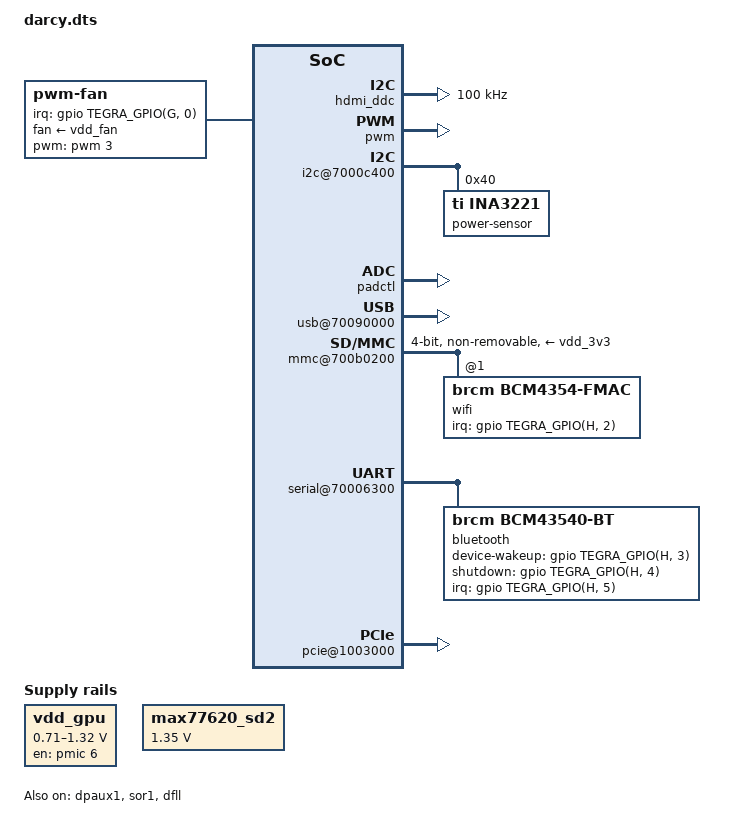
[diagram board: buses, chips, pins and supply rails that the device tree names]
// SPDX-License-Identifier: GPL-2.0
/*
 * NVIDIA SHIELD TV 2017 ("darcy", board P2894-0050-a08) as our boot chain
 * starts it: mainline's board description plus what Linux needs from us.
 * U-Boot adds the rest: the memory map cboot reports and a
 * simple-framebuffer for the HDMI console.
 */
/dts-v1/;

#include "nvidia/tegra210-p2894-0050-a08.dts"
#include <dt-bindings/thermal/thermal.h>

/ {
	chosen {
		/*
		 * The last console is /dev/console, the TV. Nothing drives the
		 * display yet, so its clocks, power domains and supplies must
		 * stay as cboot left them; unclaimed supplies would otherwise
		 * be switched off 30 seconds after boot. CPU idle is off for
		 * the first boots, although the secure monitor implements the
		 * C7 state (stock Android uses it).
		 *
		 * A panic resets the board after 10 s, back into the recovery
		 * slot where U-Boot shows the log; darcy-init writes its
		 * report into the log too (printk.devkmsg=on: unthrottled).
		 */
		bootargs = "earlycon=uart8250,mmio32,0x70006000 console=ttyS0,115200n8 console=tty0 fbcon=font:TER16x32 consoleblank=0 clk_ignore_unused pd_ignore_unused regulator_ignore_unused cpuidle.off=1 ignore_loglevel panic=10 printk.devkmsg=on";
	};

	reserved-memory {
		#address-cells = <2>;
		#size-cells = <2>;
		ranges;

		/* Stock's ramoops carveout, so warm reboots preserve it */
		ramoops@b0000000 {
			compatible = "ramoops";
			reg = <0x0 0xb0000000 0x0 0x200000>;
			record-size = <0x20000>;
			console-size = <0x100000>;
			pmsg-size = <0x40000>;
			no-map;
		};

		/*
		 * The EMC table, which U-Boot fills at each boot from the one
		 * cboot trains (patches/u-boot): room for the 16 rates
		 * tegra210-emc reads. Left zeroed, it keeps the EMC at the
		 * rate cboot left.
		 */
		emc_table: emc-table@b0200000 {
			compatible = "nvidia,tegra210-emc-table";
			reg = <0x0 0xb0200000 0x0 0x14000>;
			no-map;
		};
	};
};

&emc {
	memory-region = <&emc_table>;
	memory-region-names = "nominal";
};

/*
 * regulator-fixed drives a rail's enable pin low at probe unless the rail
 * is boot-on, so these always-on rails would be pulsed off. vdd-sys-boost
 * feeds HDMI 5V.
 */
&vdd_3v3 {
	regulator-boot-on;
};

&vdd_sys_boost {
	regulator-boot-on;
};

&vdd_disp_3v0 {
	regulator-boot-on;
};

/*
 * Where mainline's PMIC setup differs from the stock darcy device tree, the
 * stock values are kept; HDMI depends on both:
 *  - sd2 feeds the 1.05 V LDOs of the HDMI PHY and display PLLs (ldo7,
 *    ldo8). Mainline fixes it at 3.0 V, which the regulator core applies at
 *    probe. Stock allows 1.35-3.0 V, so Linux keeps cboot's voltage; the
 *    other Tegra X1 boards (p2180, p3450, smaug) run it at 1.35 V.
 *  - PMIC GPIO1 enables the 5V boost behind HDMI 5V. Stock keeps it off
 *    the power sequencer.
 */
&max77620_sd2 {
	regulator-min-microvolt = <1350000>;
};

&max77620_default {
	gpio1 {
		maxim,active-fps-source = <MAX77620_FPS_SRC_NONE>;
	};
};

/*
 * The HDMI 5V switch (GPIO CC7), SOR1's hdmi-supply. Boot-on, so its probe
 * keeps the pin high (regulator/fixed.c), and always on, so that SOR1
 * giving it up (a failed probe, the module unloading) doesn't cut the TV's
 * 5V: the TV signals hot-plug from that 5V.
 */
&vdd_hdmi {
	regulator-always-on;
};

/*
 * The PMC driver powers down every power partition it finds on, so that a
 * driver later powers it up from a known state (tegra_powergate_add() in
 * drivers/soc/tegra/pmc.c; pd_ignore_unused does not cover this). For the
 * SOR partition that cuts the HDMI encoder cboot left running, and the TV
 * loses the signal. Until tegra-drm drives HDMI itself, the partition is
 * kept away from the PMC driver: no power-domains references, no node.
 */
&dpaux1 {
	/delete-property/ power-domains;
};

&{/host1x@50000000/vi@54080000/csi@838} {
	/delete-property/ power-domains;
};

&dsia {
	/delete-property/ power-domains;
};

&dsib {
	/delete-property/ power-domains;
};

&sor0 {
	/delete-property/ power-domains;
};

&sor1 {
	/delete-property/ power-domains;
};

&dpaux {
	/delete-property/ power-domains;
};

&{/hda@70030000} {
	/delete-property/ power-domains;
};

&mipi {
	/delete-property/ power-domains;
};

/delete-node/ &pd_sor;

/*
 * HDMI through tegra-drm: SOR1, as on Jetson TX1 and Nano
 * (tegra210-p2597.dtsi, tegra210-p3450-0000.dts) and as the stock darcy
 * device tree wires it (tegra210-ers-hdmi-e2190-1100-a00.dtsi):
 *  - DDC on I2C4, through DPAUX1's pads, so DPAUX1 is on for their pinmux
 *  - hot-plug on GPIO CC1, low while a TV is connected
 *  - the supplies NVIDIA's darcy power tree names: ldo8 for the PHY, sd3
 *    for the PLL, vdd_hdmi for the connector's 5V
 * The lane crossbar cboot programs (SOR_XBAR_CTRL 0x8d111828) is mainline's
 * Tegra210 default, so there is no nvidia,xbar-cfg. SOR1, DPAUX1 and the
 * display controllers are drivers in the tegra-drm module: until it loads,
 * only vdd_hdmi probes (keeping CC7 high), and I2C4 waits for DPAUX1's
 * pinmux. Loading it resets the display at once (the DC and SOR probes),
 * and the TV stays dark until tegra-drm has set a mode.
 */
&dpaux1 {
	status = "okay";
};

&sor1 {
	avdd-io-hdmi-dp-supply = <&max77620_ldo8>;
	vdd-hdmi-dp-pll-supply = <&max77620_sd3>;
	hdmi-supply = <&vdd_hdmi>;
	nvidia,ddc-i2c-bus = <&hdmi_ddc>;
	nvidia,hpd-gpio = <&gpio TEGRA_GPIO(CC, 1) GPIO_ACTIVE_LOW>;
	status = "okay";
};

/ {
	hdmi_ddc: i2c@7000c700 {
		clock-frequency = <100000>;
		status = "okay";
	};
};

/*
 * The GPU (GM20B) for nouveau. Its rail is the stock darcy one (gpu_ovr_reg,
 * tegra210-ers-power-dvfs-e2174-1101-a00.dtsi): an open-loop regulator set
 * by PWM channel 1 and switched by PMIC GPIO 6, with the range, period and
 * delays of Jetson TX1's vdd_gpu (tegra210-p2180.dtsi). cboot leaves the GPU
 * off: GPIO 6 an input, channel 1 disabled, the clamps on. With channel 1
 * disabled the rail starts at its 710 mV floor when nouveau enables it, as
 * on Jetson TX1.
 *
 * cboot also leaves the PWM pins on other functions: lcd_gpio2_pv4 on
 * DISPLAYB, and the fan's pe7 (below) on RSVD0. Android's kernel muxes them
 * to pwm1 and pwm3 with the rest of its pinmux. Here the PWM controller
 * applies just those two pins, as its default state: without it the duty
 * cycle would never reach the regulator or the fan.
 *
 * The controller also runs channel 0 for cboot, the lightbar LED, which
 * nothing in Linux claims: the driver gates the controller's clock while no
 * Linux user has a channel on (tegra_pwm_runtime_suspend()), so the LED can
 * freeze while neither the GPU nor the fan runs.
 */
&pinmux {
	pwm_default: pinmux-pwm {
		lcd_gpio2_pv4 {
			nvidia,pins = "lcd_gpio2_pv4";
			nvidia,function = "pwm1";
			nvidia,pull = <TEGRA_PIN_PULL_NONE>;
			nvidia,tristate = <TEGRA_PIN_DISABLE>;
			nvidia,enable-input = <TEGRA_PIN_DISABLE>;
			nvidia,open-drain = <TEGRA_PIN_DISABLE>;
		};

		pe7 {
			nvidia,pins = "pe7";
			nvidia,function = "pwm3";
			nvidia,pull = <TEGRA_PIN_PULL_NONE>;
			nvidia,tristate = <TEGRA_PIN_DISABLE>;
			nvidia,enable-input = <TEGRA_PIN_DISABLE>;
		};
	};
};

&pwm {
	pinctrl-names = "default";
	pinctrl-0 = <&pwm_default>;
	status = "okay";
};

/*
 * The fan, which nothing ran before: the stock darcy device tree's pwm-fan
 * (tegra210-darcy-pwm-fan.dtsi), on PWM channel 3 (pin pe7) at a 65536 ns
 * period, its 5V switched by vdd_fan (GPIO E4), its tachometer on GPIO G0.
 * The fan's PWM input is inverted, measured with the pin driven as a GPIO:
 * low ran it flat out (1103 tachometer edges in 3 s, +0.63 W), high stopped
 * it. Linux's Tegra PWM has no inverted polarity, so the levels count down:
 * duty 255 stops the fan; the others are stock's "cool" profile (25, 43, 51,
 * 62.5 and 94 percent), then full. The top level is 1, not 0: pwm-fan turns
 * the PWM off for 0, and an off Tegra PWM drives its pin low.
 *
 * The driver starts the fan at its top level, until the trips below take
 * over.
 */
/ {
	fan: pwm-fan {
		compatible = "pwm-fan";
		pwms = <&pwm 3 65536>;
		fan-supply = <&vdd_fan>;
		cooling-levels = <255 190 145 125 96 16 1>;
		#cooling-cells = <2>;
		interrupts-extended = <&gpio TEGRA_GPIO(G, 0) IRQ_TYPE_EDGE_FALLING>;
		pulses-per-revolution = <2>;
	};
};

/*
 * The fan follows the CPU's temperature: stock darcy's "cool" profile starts
 * it at 50 C. These start it at 45 C, and add two more steps up to 95 C.
 */
&{/thermal-zones/cpu-thermal} {
	trips {
		fan1: fan-45 {
			temperature = <45000>;
			hysteresis = <3000>;
			type = "active";
		};

		fan2: fan-55 {
			temperature = <55000>;
			hysteresis = <3000>;
			type = "active";
		};

		fan3: fan-65 {
			temperature = <65000>;
			hysteresis = <3000>;
			type = "active";
		};

		fan4: fan-75 {
			temperature = <75000>;
			hysteresis = <3000>;
			type = "active";
		};

		fan5: fan-85 {
			temperature = <85000>;
			hysteresis = <3000>;
			type = "active";
		};

		fan6: fan-95 {
			temperature = <95000>;
			hysteresis = <3000>;
			type = "active";
		};
	};

	cooling-maps {
		fan-45 {
			trip = <&fan1>;
			cooling-device = <&fan 1 1>;
		};

		fan-55 {
			trip = <&fan2>;
			cooling-device = <&fan 2 2>;
		};

		fan-65 {
			trip = <&fan3>;
			cooling-device = <&fan 3 3>;
		};

		fan-75 {
			trip = <&fan4>;
			cooling-device = <&fan 4 4>;
		};

		fan-85 {
			trip = <&fan5>;
			cooling-device = <&fan 5 5>;
		};

		fan-95 {
			trip = <&fan6>;
			cooling-device = <&fan 6 6>;
		};
	};
};

/*
 * Passive cooling: from 82 C on the CPU sensor or 85 C on the memory
 * sensor, the thermal core lowers the CPUs' highest rate a step at a time
 * (cpufreq cooling), while the fan runs at its top levels. The four cores
 * share one cpufreq policy, which registers a single cooling device for
 * cpu@0. The memory zone polls once a second while above a passive trip,
 * as the CPU zone does; its own passive trip at 50 C maps only to the EMC,
 * which has no driver here yet. The soctherm hardware throttle (98.5 C)
 * and the thermal guard (rootfs/) stay in place behind this.
 */
&{/cpus/cpu@0} {
	#cooling-cells = <2>;
};

&{/thermal-zones/cpu-thermal} {
	trips {
		cpu_passive: cpu-passive {
			temperature = <82000>;
			hysteresis = <2000>;
			type = "passive";
		};
	};

	cooling-maps {
		cpu-passive {
			trip = <&cpu_passive>;
			cooling-device = <&{/cpus/cpu@0} THERMAL_NO_LIMIT THERMAL_NO_LIMIT>;
		};
	};
};

&{/thermal-zones/mem-thermal} {
	polling-delay-passive = <1000>;

	trips {
		mem_passive: mem-passive-cpu {
			temperature = <85000>;
			hysteresis = <2000>;
			type = "passive";
		};
	};

	cooling-maps {
		mem-passive-cpu {
			trip = <&mem_passive>;
			cooling-device = <&{/cpus/cpu@0} THERMAL_NO_LIMIT THERMAL_NO_LIMIT>;
		};
	};
};

/*
 * The CPU's clock and voltage: the DFLL, in PWM mode as on stock darcy
 * (tegra210-p2530-common.dtsi) and Jetson Nano (tegra210-p3450-0000.dts),
 * with the same values. Its PWM output (pin dvfs_pwm_pbb1, which cboot
 * leaves on CLDVFS, tristated) sets the CPU rail from 708 mV in 19.2 mV
 * steps; tristated, the rail sits at 1.0 V. cpufreq switches the CPU from
 * pll_x to the DFLL, which then picks the voltage for each rate itself
 * (closed loop). Until then, the CPU runs on pll_x at 1017.6 MHz.
 *
 * The DFLL's rates stop at 1020 MHz while it is brought up
 * (patches/linux/0003). The pin states are complete, since the pinmux's
 * own state (mainline's "boot") is never applied.
 */
&dfll {
	nvidia,cf = <6>;
	nvidia,ci = <0>;
	nvidia,cg = <2>;
	nvidia,droop-ctrl = <0x00000f00>;
	nvidia,force-mode = <1>;
	nvidia,sample-rate = <25000>;

	nvidia,pwm-min-microvolts = <708000>;
	nvidia,pwm-period-nanoseconds = <2500>;
	nvidia,pwm-to-pmic;
	nvidia,pwm-tristate-microvolts = <1000000>;
	nvidia,pwm-voltage-step-microvolts = <19200>;

	pinctrl-names = "dvfs_pwm_enable", "dvfs_pwm_disable";
	pinctrl-0 = <&dvfs_pwm_active_state>;
	pinctrl-1 = <&dvfs_pwm_inactive_state>;
	status = "okay";
};

&pinmux {
	dvfs_pwm_active_state: pinmux-dvfs-pwm-active {
		dvfs_pwm_pbb1 {
			nvidia,pins = "dvfs_pwm_pbb1";
			nvidia,function = "cldvfs";
			nvidia,pull = <TEGRA_PIN_PULL_NONE>;
			nvidia,tristate = <TEGRA_PIN_DISABLE>;
			nvidia,enable-input = <TEGRA_PIN_DISABLE>;
			nvidia,open-drain = <TEGRA_PIN_DISABLE>;
		};
	};

	dvfs_pwm_inactive_state: pinmux-dvfs-pwm-inactive {
		dvfs_pwm_pbb1 {
			nvidia,pins = "dvfs_pwm_pbb1";
			nvidia,function = "cldvfs";
			nvidia,pull = <TEGRA_PIN_PULL_NONE>;
			nvidia,tristate = <TEGRA_PIN_ENABLE>;
			nvidia,enable-input = <TEGRA_PIN_DISABLE>;
			nvidia,open-drain = <TEGRA_PIN_DISABLE>;
		};
	};
};

/ {
	vdd_gpu: regulator-vdd-gpu {
		compatible = "pwm-regulator";
		pwms = <&pwm 1 8000>;
		regulator-name = "vdd-gpu";
		regulator-min-microvolt = <710000>;
		regulator-max-microvolt = <1320000>;
		enable-gpios = <&pmic 6 GPIO_ACTIVE_HIGH>;
		regulator-ramp-delay = <80>;
		regulator-enable-ramp-delay = <2000>;
		regulator-settling-time-us = <160>;
	};
};

/*
 * The GPU's clocks are the SoC file's plus the fuse clock. nouveau keeps it
 * on while the GPU is powered (patches/linux/0001): with it gated, the
 * GPU's first register read stalls the bus (NOTES.md). The same is posted
 * upstream for every Tegra210 board.
 */
&{/gpu@57000000} {
	clocks = <&tegra_car TEGRA210_CLK_GPU>,
		 <&tegra_car TEGRA210_CLK_PLL_P_OUT5>,
		 <&tegra_car TEGRA210_CLK_PLL_G_REF>,
		 <&tegra_car TEGRA210_CLK_FUSE>;
	clock-names = "gpu", "pwr", "ref", "fuse";
	vdd-supply = <&vdd_gpu>;
	status = "okay";
};

/*
 * The power monitor, as the stock darcy device tree has it
 * (tegra210-darcy-p2894-common.dtsi): an INA3221 on I2C2, its three inputs
 * behind 5 mOhm shunts. cboot leaves the bus's pins on I2C2. VDD_SYS is the
 * system input, which shows whether a rail (the GPU's, say) really draws.
 */
&{/i2c@7000c400} {
	status = "okay";

	power-sensor@40 {
		compatible = "ti,ina3221";
		reg = <0x40>;
		#address-cells = <1>;
		#size-cells = <0>;

		input@0 {
			reg = <0x0>;
			label = "VDD_NOOP";
			shunt-resistor-micro-ohms = <5000>;
		};

		input@1 {
			reg = <0x1>;
			label = "VDD_IO";
			shunt-resistor-micro-ohms = <5000>;
		};

		input@2 {
			reg = <0x2>;
			label = "VDD_SYS";
			shunt-resistor-micro-ohms = <5000>;
		};
	};
};

/*
 * USB: the port near HDMI as a host, wired as in the stock darcy device tree
 * (USB 2 lane 2, with UPHY lane pcie-5 for SuperSpeed as usb3-1), with the
 * supplies NVIDIA's darcy power tree names
 * (tegra210-darcy-power-tree-p2894-0000-a00.dtsi). The port far from HDMI
 * (usb2-0/usb3-0, OTG) carries the fastboot link to the laptop, which powers
 * that cable, so Linux leaves it alone for now.
 */
&padctl {
	avdd-pll-utmip-supply = <&max77620_sd3>;
	avdd-pll-uerefe-supply = <&max77620_ldo7>;
	dvdd-pex-pll-supply = <&max77620_ldo1>;
	hvdd-pex-pll-e-supply = <&max77620_sd3>;
	status = "okay";

	pads {
		usb2 {
			status = "okay";

			lanes {
				usb2-2 {
					nvidia,function = "xusb";
					status = "okay";
				};
			};
		};

		pcie {
			status = "okay";

			lanes {
				pcie-5 {
					nvidia,function = "usb3-ss";
					status = "okay";
				};
			};
		};
	};

	ports {
		usb2-2 {
			mode = "host";
			vbus-supply = <&usb_vbus2>;
			status = "okay";
		};

		usb3-1 {
			nvidia,usb2-companion = <2>;
			status = "okay";
		};
	};
};

&{/usb@70090000} {
	phys = <&{/padctl@7009f000/pads/usb2/lanes/usb2-2}>,
	       <&{/padctl@7009f000/pads/pcie/lanes/pcie-5}>;
	phy-names = "usb2-2", "usb3-1";
	dvddio-pex-supply = <&max77620_ldo1>;
	hvddio-pex-supply = <&max77620_sd3>;
	avdd-usb-supply = <&vdd_3v3>;
	status = "okay";
};

/*
 * Wi-Fi: the BCM4354 on SDMMC2, as in the stock darcy device tree
 * (bcmdhd_wlan: power on GPIO H0, host wake on H2) and like the same chip
 * on the Pixel C (tegra210-smaug.dts). Its firmware, darcy's NVRAM and CLM
 * blob come from NVIDIA's vendor partition (config.sh VENDOR_FIRMWARE).
 */
&{/mmc@700b0200} {
	power-gpios = <&gpio TEGRA_GPIO(H, 0) GPIO_ACTIVE_HIGH>;
	bus-width = <4>;
	non-removable;
	vqmmc-supply = <&max77620_sd3>;
	vmmc-supply = <&vdd_3v3>;
	#address-cells = <1>;
	#size-cells = <0>;
	status = "okay";

	wifi@1 {
		compatible = "brcm,bcm4354-fmac", "brcm,bcm4329-fmac";
		reg = <1>;
		interrupt-parent = <&gpio>;
		interrupts = <TEGRA_GPIO(H, 2) IRQ_TYPE_LEVEL_HIGH>;
		interrupt-names = "host-wake";

		/*
		 * The firmware's locale for each country: NVIDIA's table for
		 * darcy, which ships with the same CLM blob (country_code_map
		 * in the downstream darcy device tree; its "E0" entry is not a
		 * country and is left out). brcmfmac passes cfg80211's country
		 * (cfg80211.ieee80211_regdom, config.sh WIFI_COUNTRY) on to a
		 * BCM4354 only through such a map; without it the firmware
		 * keeps the NVRAM's ccode=XV, which can leave out every 5 GHz
		 * channel.
		 */
		brcm,ccode-map = "XV-XV-0", "US-US-0", "CA-Q2-0", "AT-DE-0", "BE-DE-0", "BG-DE-0",
				 "HR-DE-0", "CY-DE-0", "CZ-DE-0", "DK-DE-0", "EE-DE-0", "FI-DE-0",
				 "FR-DE-0", "DE-DE-0", "GR-DE-0", "HU-DE-0", "IS-DE-0", "IE-DE-0",
				 "IT-DE-0", "LV-DE-0", "LI-DE-0", "LT-DE-0", "LU-DE-0", "MT-DE-0",
				 "NL-DE-0", "NO-DE-0", "PL-DE-0", "PT-DE-0", "RO-DE-0", "SK-DE-0",
				 "SI-DE-0", "ES-DE-0", "SE-DE-0", "CH-DE-0", "TR-DE-0", "GB-DE-0",
				 "EU-DE-0", "AU-AU-0", "CN-CN-0", "IN-IN-0", "JP-JP-0", "KR-KR-0",
				 "RU-RU-0", "TW-US-0", "SG-DE-0", "HK-DE-0", "NZ-AU-0", "AP-XY-0";
	};
};

/*
 * Bluetooth: the BCM4354's Bluetooth core on UARTD, the port Android uses
 * (ttyTHS3, labelled hci_attach_dev in its SELinux contexts), with the GPIOs
 * of the stock bluedroid_pm node (shutdown H4, device wake H3, host wake
 * H5): the same wiring as the Pixel C (tegra210-smaug.dts). Its firmware
 * patch comes from NVIDIA's vendor partition (VENDOR_FIRMWARE).
 *
 * serial-tegra numbers a port by its serialN alias and refuses one without
 * ("failed to get alias id, errno -19"); darcy's board file only names the
 * debug UART, so UARTD gets smaug's alias, 3, which is ttyTHS3 as on Android.
 *
 * hci_bcm talks at 115200 baud until the patch is in, then at max-speed.
 * That is 3 Mbaud, as NVIDIA's Android sets it (libbt-vendor: "set UART
 * baud 3000000") and as UARTD's clock makes it exactly: PLLP's 408 MHz / 8.5
 * = 16 x 3 Mbaud. Smaug's 4 Mbaud would come out 1.9% slow.
 */
/ {
	aliases {
		serial3 = &uartd;
	};
};

&{/serial@70006300} {
	compatible = "nvidia,tegra30-hsuart";
	reset-names = "serial";
	/delete-property/ reg-shift;
	status = "okay";

	bluetooth {
		compatible = "brcm,bcm43540-bt";
		max-speed = <3000000>;
		device-wakeup-gpios = <&gpio TEGRA_GPIO(H, 3) GPIO_ACTIVE_HIGH>;
		shutdown-gpios = <&gpio TEGRA_GPIO(H, 4) GPIO_ACTIVE_HIGH>;
		interrupt-parent = <&gpio>;
		interrupts = <TEGRA_GPIO(H, 5) IRQ_TYPE_LEVEL_LOW>;
		interrupt-names = "host-wakeup";
	};
};

/*
 * Ethernet: the RTL8168 sits on PCIe. Both root ports as in the stock darcy
 * device tree (x4 on lanes pcie-1..4, x1 on pcie-0); the one whose link
 * comes up shows where the chip is.
 */
&padctl {
	pads {
		pcie {
			lanes {
				pcie-0 {
					nvidia,function = "pcie-x1";
					status = "okay";
				};

				pcie-1 {
					nvidia,function = "pcie-x4";
					status = "okay";
				};

				pcie-2 {
					nvidia,function = "pcie-x4";
					status = "okay";
				};

				pcie-3 {
					nvidia,function = "pcie-x4";
					status = "okay";
				};

				pcie-4 {
					nvidia,function = "pcie-x4";
					status = "okay";
				};
			};
		};
	};
};

&{/pcie@1003000} {
	hvddio-pex-supply = <&max77620_sd3>;
	dvddio-pex-supply = <&max77620_ldo1>;
	vddio-pex-ctl-supply = <&max77620_sd3>;
	status = "okay";

	pci@1,0 {
		phys = <&{/padctl@7009f000/pads/pcie/lanes/pcie-1}>,
		       <&{/padctl@7009f000/pads/pcie/lanes/pcie-2}>,
		       <&{/padctl@7009f000/pads/pcie/lanes/pcie-3}>,
		       <&{/padctl@7009f000/pads/pcie/lanes/pcie-4}>;
		phy-names = "pcie-0", "pcie-1", "pcie-2", "pcie-3";
		status = "okay";
	};

	pci@2,0 {
		phys = <&{/padctl@7009f000/pads/pcie/lanes/pcie-0}>;
		phy-names = "pcie-0";
		status = "okay";
	};
};

/*
 * The timer block also holds the watchdog U-Boot arms (timer 5 driving
 * WDT 0). tegra_wdt knows it only by Tegra30's name, whose registers these
 * are; bound, it lets systemd take the watchdog over. Until something opens
 * /dev/watchdog it leaves U-Boot's watchdog running.
 */
&{/timer@60005000} {
	compatible = "nvidia,tegra210-timer", "nvidia,tegra30-timer";
};

/*
 * The PMC is secure-only on the SHIELD. Linux needs no property for that:
 * on Tegra210 it probes for it and goes through the secure monitor
 * (maybe_tz_only in drivers/soc/tegra/pmc.c).
 */
